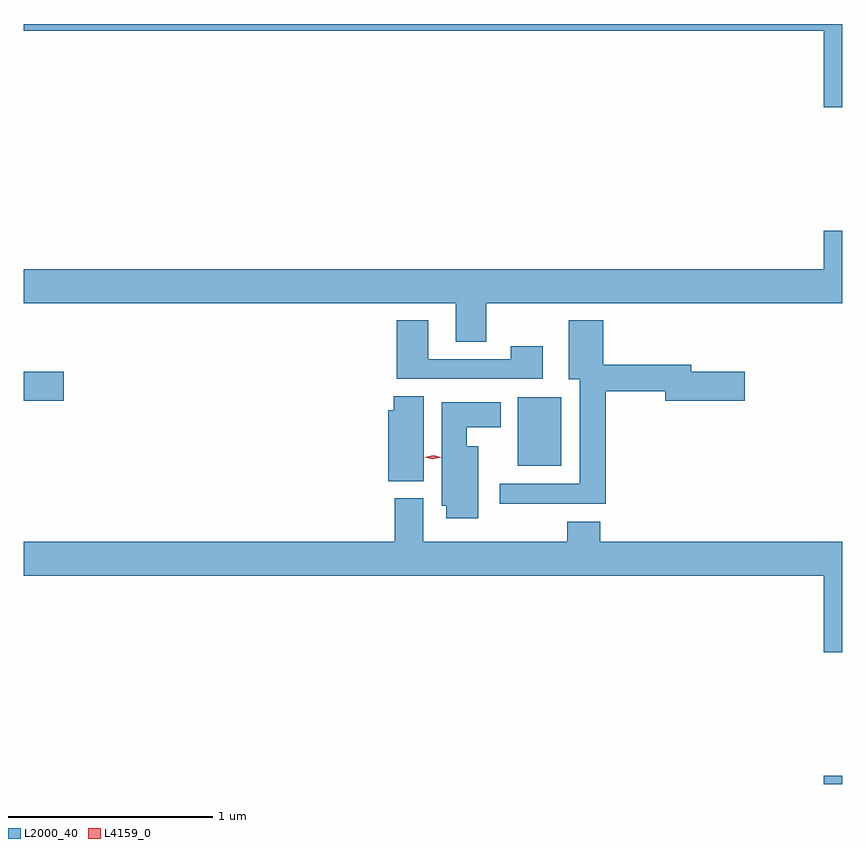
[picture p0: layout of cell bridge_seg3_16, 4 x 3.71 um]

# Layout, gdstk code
import gdstk
lib = gdstk.Library(unit=1e-6, precision=1e-09)
def R(c, l, rs):  # rectangles x0, y0, x1, y1
    for r in rs: c.add(gdstk.rectangle(r[:2], r[2:], *l))
def P(c, l, *ps):  # polygons
    for p in ps: c.add(gdstk.Polygon(p, *l))
L2000_40 = (2000, 40)
L4159_0 = (4159, 0)

bridge_seg3_16 = lib.new_cell('bridge_seg3_16')
R(bridge_seg3_16, L2000_40, [(656.516,745.185,656.607,745.225), (655.022,746.741,655.234,747.076), (652.607,747.059,652.801,747.201)])
P(bridge_seg3_16, L2000_40, [(656.607,748.9),(652.607,748.9),(652.607,748.868),(656.516,748.868),(656.516,748.494),(656.607,748.494)],
  [(654.867,747.536),(656.607,747.536),(656.607,747.889),(656.516,747.889),(656.516,747.7),(652.607,747.7),(652.607,747.536),(654.719,747.536),(654.719,747.346),(654.867,747.346)],
  [(655.451,747.106),(655.742,747.106),(655.742,747.059),(656.131,747.059),(656.131,747.201),(655.87,747.201),(655.87,747.235),(655.438,747.235),(655.438,747.451),(655.271,747.451),(655.271,747.164),(655.325,747.164),(655.325,746.652),(654.933,746.652),(654.933,746.555),(655.451,746.555)],
  [(655.144,747.325),(654.988,747.325),(654.988,747.261),(654.583,747.261),(654.583,747.451),(654.431,747.451),(654.431,747.165),(655.144,747.165)],
  [(654.562,747.08),(654.416,747.08),(654.416,747.013),(654.389,747.013),(654.389,746.666),(654.562,746.666)],
  [(654.829,746.836),(654.772,746.836),(654.772,746.93),(654.937,746.93),(654.937,747.052),(654.65,747.052),(654.65,746.544),(654.671,746.544),(654.671,746.484),(654.829,746.484)],
  [(656.607,746.368),(655.424,746.368),(655.424,746.467),(655.264,746.467),(655.264,746.368),(654.559,746.368),(654.559,746.581),(654.419,746.581),(654.419,746.368),(652.607,746.368),(652.607,746.204),(656.516,746.204),(656.516,745.83),(656.607,745.83)])
P(bridge_seg3_16, L4159_0, [(654.606,746.772),(654.566,746.783),(654.566,746.783),(654.566,746.783),(654.607,746.792),(654.647,746.781),(654.647,746.781),(654.647,746.781)])

lib.write_gds('bridge_seg3_16.gds')
